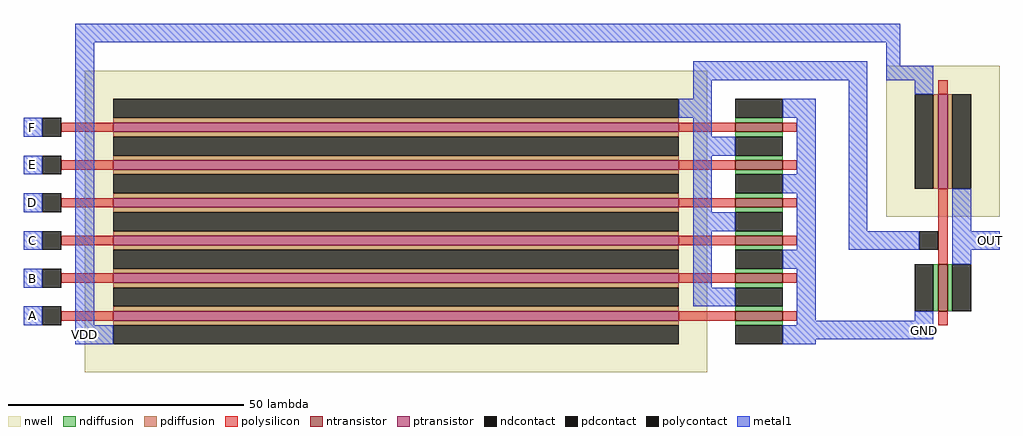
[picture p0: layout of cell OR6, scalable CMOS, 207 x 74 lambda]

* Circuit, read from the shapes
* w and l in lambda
.subckt OR6 A B C D E F GND OUT VDD
M1 n1 A GND VSUBS nfet w=10 l=2
M2 GND B n1 VSUBS nfet w=10 l=2
M3 n1 C GND VSUBS nfet w=10 l=2
M4 GND D n1 VSUBS nfet w=10 l=2
M5 n1 E GND VSUBS nfet w=10 l=2
M6 GND F n1 VSUBS nfet w=10 l=2
M7 OUT n1 GND VSUBS nfet w=10 l=2
M8 n2 A VDD n3 pfet w=120 l=2
M9 n4 B n2 n3 pfet w=120 l=2
M10 n5 C n4 n3 pfet w=120 l=2
M11 n6 D n5 n3 pfet w=120 l=2
M12 n7 E n6 n3 pfet w=120 l=2
M13 n1 F n7 n3 pfet w=120 l=2
M14 OUT n1 VDD n8 pfet w=20 l=2
.ends

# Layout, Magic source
magic
tech scmos
<< nwell >>
rect 13 -6 145 58
rect 183 27 207 59
<< ntransistor >>
rect 151 45 161 47
rect 151 37 161 39
rect 151 29 161 31
rect 151 21 161 23
rect 151 13 161 15
rect 194 7 196 17
rect 151 5 161 7
<< ptransistor >>
rect 19 45 139 47
rect 19 37 139 39
rect 194 33 196 53
rect 19 29 139 31
rect 19 21 139 23
rect 19 13 139 15
rect 19 5 139 7
<< ndiffusion >>
rect 151 47 161 48
rect 151 44 161 45
rect 151 39 161 40
rect 151 36 161 37
rect 151 31 161 32
rect 151 28 161 29
rect 151 23 161 24
rect 151 20 161 21
rect 151 15 161 16
rect 151 12 161 13
rect 151 7 161 8
rect 193 7 194 17
rect 196 7 197 17
rect 151 4 161 5
<< pdiffusion >>
rect 19 47 139 48
rect 19 44 139 45
rect 19 39 139 40
rect 19 36 139 37
rect 19 31 139 32
rect 193 33 194 53
rect 196 33 197 53
rect 19 28 139 29
rect 19 23 139 24
rect 19 20 139 21
rect 19 15 139 16
rect 19 12 139 13
rect 19 7 139 8
rect 19 4 139 5
<< ndcontact >>
rect 151 48 161 52
rect 151 40 161 44
rect 151 32 161 36
rect 151 24 161 28
rect 151 16 161 20
rect 151 8 161 12
rect 189 7 193 17
rect 197 7 201 17
rect 151 0 161 4
<< pdcontact >>
rect 19 48 139 52
rect 19 40 139 44
rect 19 32 139 36
rect 189 33 193 53
rect 197 33 201 53
rect 19 24 139 28
rect 19 16 139 20
rect 19 8 139 12
rect 19 0 139 4
<< polysilicon >>
rect 194 53 196 56
rect 8 45 19 47
rect 139 45 151 47
rect 161 45 164 47
rect 8 37 19 39
rect 139 37 151 39
rect 161 37 164 39
rect 8 29 19 31
rect 139 29 151 31
rect 161 29 164 31
rect 8 21 19 23
rect 139 21 151 23
rect 161 21 164 23
rect 194 17 196 33
rect 8 13 19 15
rect 139 13 151 15
rect 161 13 164 15
rect 8 5 19 7
rect 139 5 151 7
rect 161 5 164 7
rect 194 4 196 7
<< polycontact >>
rect 4 44 8 48
rect 4 36 8 40
rect 4 28 8 32
rect 4 20 8 24
rect 4 12 8 16
rect 190 20 194 24
rect 4 4 8 8
<< metal1 >>
rect 11 64 186 68
rect 0 44 4 48
rect 0 36 4 40
rect 0 28 4 32
rect 0 20 4 24
rect 0 12 4 16
rect 0 4 4 8
rect 11 4 15 64
rect 142 56 179 60
rect 183 59 186 64
rect 183 56 193 59
rect 142 52 146 56
rect 139 48 146 52
rect 161 48 168 52
rect 142 44 146 48
rect 142 40 151 44
rect 142 28 146 40
rect 164 36 168 48
rect 161 32 168 36
rect 142 24 151 28
rect 142 12 146 24
rect 164 20 168 32
rect 175 24 179 56
rect 189 53 193 56
rect 197 24 201 33
rect 175 20 190 24
rect 197 20 207 24
rect 161 16 168 20
rect 197 17 201 20
rect 142 8 151 12
rect 164 5 168 16
rect 189 5 193 7
rect 164 4 193 5
rect 11 0 19 4
rect 161 1 193 4
rect 161 0 168 1
<< labels >>
rlabel metal1 0 4 4 8 3 A
rlabel metal1 0 12 4 16 3 B
rlabel metal1 0 20 4 24 3 C
rlabel metal1 0 28 4 32 3 D
rlabel metal1 0 36 4 40 3 E
rlabel metal1 0 44 4 48 3 F
rlabel metal1 203 20 207 24 7 OUT
rlabel metal1 189 1 193 5 1 GND
rlabel metal1 11 0 15 4 1 VDD
<< end >>
